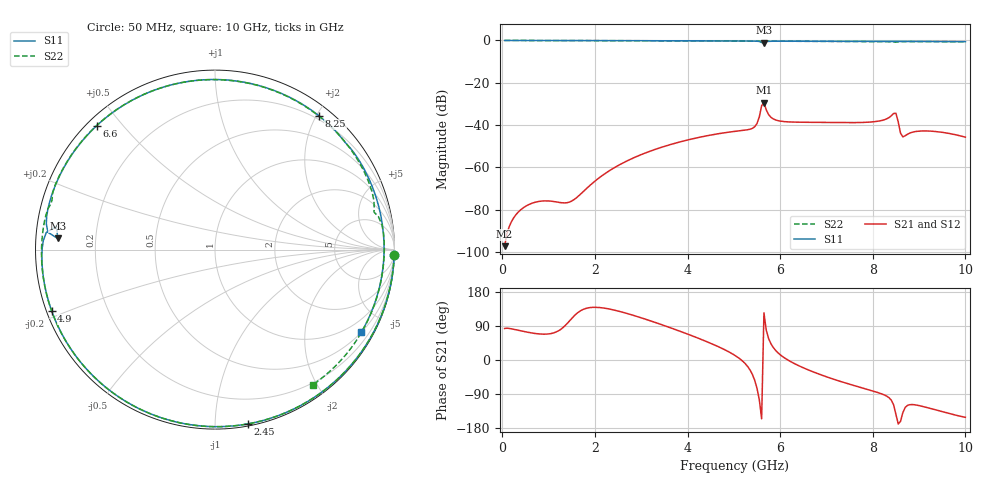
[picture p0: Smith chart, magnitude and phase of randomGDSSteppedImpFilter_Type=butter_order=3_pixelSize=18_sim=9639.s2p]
! freq	dB(S11)	phase(S11)	dB(S12)	phase(S12)
!  dB(S21)	phase(S21)	dB(S22)	phase(S22)
!S-par simulation data
#  GHz  S  DB  R 50
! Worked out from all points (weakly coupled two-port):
!   200 points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, 50 MHz to 10 GHz, reference 50 ohm
!   highest |S21| = -29.34 dB at 5.65 GHz (marker M1); lowest = -97.2 dB at 50 MHz (marker M2)
!   lowest |S11| = -1.1 dB at 5.65 GHz (marker M3), VSWR 15.49, Z = 3.23 + j1.76 ohm
!   |S11| at or under -10 dB: nowhere
!   |S22| runs from -0.8 to 0.0 dB; largest |S21 - S12| = 0
!   S11 on the Smith chart (normalised r, x): 50 MHz: 4, -70; 2.45 GHz: 0.01, -1.21; 4.9 GHz: 0.01, -0.18; 6.6 GHz: 0.03, +0.43; 8.25 GHz: 0.15, +2.03; 10 GHz: 0.51, -3.75
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0.05  -0.01 -1.6  -97.16 83.1  -97.16 83.1  -0.01 -1.7
0.85  -0.03 -27.9  -75.86 68.4  -75.86 68.4  -0.04 -28.6
1.4  -0.06 -45.8  -76.63 96.2  -76.63 96.2  -0.06 -46.9
1.75  -0.07 -57.0  -71.35 133.6  -71.35 133.6  -0.07 -58.5
2.45  -0.10 -79.3  -59.71 130.8  -59.71 130.8  -0.11 -81.5
3.4  -0.15 -109.4  -50.73 95.0  -50.73 95.0  -0.15 -112.9
4.9  -0.25 -159.5  -43.28 20.9  -43.28 20.9  -0.26 -166.6
5.05  -0.26 -164.9  -42.86 10.0  -42.86 10.0  -0.28 -172.5
5.45  -0.33 179.4  -40.78 -53.3  -40.78 -53.3  -0.33 170.9
5.65  -1.12 176.0  -29.34 124.5  -29.34 124.5  -0.45 163.0
5.75  -0.44 171.3  -35.02 56.8  -35.02 56.8  -0.35 158.3
5.9  -0.37 164.3  -37.54 25.7  -37.54 25.7  -0.36 151.3
6.6  -0.40 133.8  -38.66 -25.8  -38.66 -25.8  -0.43 116.7
6.7  -0.41 129.2  -38.68 -30.7  -38.68 -30.7  -0.44 111.5
7.45  -0.46 93.1  -38.83 -62.1  -38.83 -62.1  -0.50 70.1
8.25  -0.50 52.2  -37.46 -92.3  -37.46 -92.3  -0.57 25.3
8.35  -0.51 47.0  -36.44 -99.4  -36.44 -99.4  -0.61 19.9
8.5  -0.54 39.6  -34.40 -144.1  -34.40 -144.1  -0.82 13.3
8.6  -0.50 34.7  -43.84 -161.5  -43.84 -161.5  -0.54 8.5
8.65  -0.50 32.1  -45.53 -138.7  -45.53 -138.7  -0.51 5.6
9.15  -0.51 7.7  -42.74 -124.7  -42.74 -124.7  -0.54 -19.1
10  -0.57 -29.4  -45.68 -151.2  -45.68 -151.2  -0.63 -54.2
